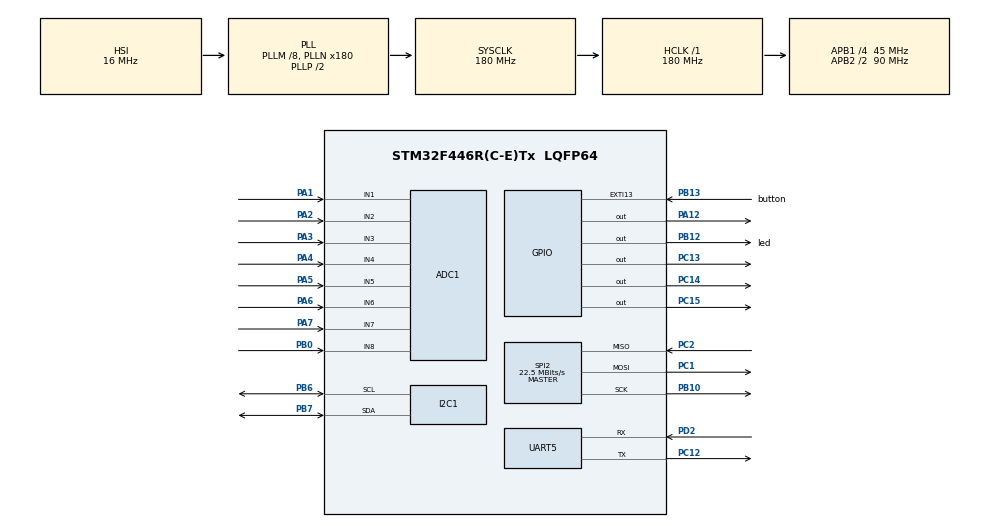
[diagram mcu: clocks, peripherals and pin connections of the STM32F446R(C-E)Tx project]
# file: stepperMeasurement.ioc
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ADC1.Channel-19\#ChannelRegularConversion=ADC_CHANNEL_7
ADC1.Channel-20\#ChannelRegularConversion=ADC_CHANNEL_8
ADC1.Channel-21\#ChannelRegularConversion=ADC_CHANNEL_1
ADC1.Channel-22\#ChannelRegularConversion=ADC_CHANNEL_2
ADC1.NbrOfConversion=4
ADC1.NbrOfConversionFlag=1
ADC1.Rank-19\#ChannelRegularConversion=1
ADC1.Rank-20\#ChannelRegularConversion=2
ADC1.Rank-21\#ChannelRegularConversion=3
ADC1.Rank-22\#ChannelRegularConversion=4
ADC1.SamplingTime-19\#ChannelRegularConversion=ADC_SAMPLETIME_3CYCLES
ADC1.SamplingTime-20\#ChannelRegularConversion=ADC_SAMPLETIME_3CYCLES
ADC1.SamplingTime-21\#ChannelRegularConversion=ADC_SAMPLETIME_3CYCLES
ADC1.SamplingTime-22\#ChannelRegularConversion=ADC_SAMPLETIME_3CYCLES
ADC1.master=1
Dma.ADC1.0.Direction=DMA_PERIPH_TO_MEMORY
Dma.ADC1.0.FIFOMode=DMA_FIFOMODE_DISABLE
Dma.ADC1.0.Instance=DMA2_Stream0
Dma.ADC1.0.MemDataAlignment=DMA_MDATAALIGN_HALFWORD
Dma.ADC1.0.MemInc=DMA_MINC_ENABLE
Dma.ADC1.0.Mode=DMA_NORMAL
Dma.ADC1.0.PeriphDataAlignment=DMA_PDATAALIGN_HALFWORD
Dma.ADC1.0.PeriphInc=DMA_PINC_DISABLE
Dma.ADC1.0.Priority=DMA_PRIORITY_LOW
Dma.Request0=ADC1
Mcu.Family=STM32F4
Mcu.Name=STM32F446R(C-E)Tx
Mcu.Package=LQFP64
NVIC.DMA2_Stream0_IRQn=true\:0\:0\:false\:false\:true\:false\:true\:true
NVIC.EXTI15_10_IRQn=true\:0\:0\:false\:false\:true\:true\:true\:true
NVIC.PriorityGroup=NVIC_PRIORITYGROUP_4
NVIC.TIM2_IRQn=true\:0\:0\:false\:false\:true\:true\:true\:true
NVIC.UART5_IRQn=true\:0\:0\:false\:false\:true\:true\:true\:true
PA1.Signal=ADCx_IN1
PA12.GPIO_PuPd=GPIO_PULLUP
PA12.Signal=GPIO_Output
PA13.Mode=Serial_Wire
PA13.Signal=SYS_JTMS-SWDIO
PA14.Mode=Serial_Wire
PA14.Signal=SYS_JTCK-SWCLK
PA2.Signal=ADCx_IN2
PA3.Signal=ADCx_IN3
PA4.Signal=ADCx_IN4
PA5.Signal=ADCx_IN5
PA6.Signal=ADCx_IN6
PA7.Signal=ADCx_IN7
PB0.Signal=ADCx_IN8
PB10.Mode=Full_Duplex_Master
PB10.Signal=SPI2_SCK
PB12.GPIO_Label=led
PB12.PinState=GPIO_PIN_SET
PB12.Signal=GPIO_Output
PB13.GPIO_Label=button
PB13.GPIO_ModeDefaultEXTI=GPIO_MODE_IT_RISING_FALLING
PB13.Signal=GPXTI13
PB6.Mode=I2C
PB6.Signal=I2C1_SCL
PB7.Mode=I2C
PB7.Signal=I2C1_SDA
PC1.Mode=Full_Duplex_Master
PC1.Signal=SPI2_MOSI
PC12.Mode=Asynchronous
PC12.Signal=UART5_TX
PC13.Signal=GPIO_Output
PC14-OSC32_IN.Signal=GPIO_Output
PC15-OSC32_OUT.Signal=GPIO_Output
PC2.Mode=Full_Duplex_Master
PC2.Signal=SPI2_MISO
PD2.Mode=Asynchronous
PD2.Signal=UART5_RX
PH0-OSC_IN.Mode=HSE-External-Oscillator
PH0-OSC_IN.Signal=RCC_OSC_IN
PH1-OSC_OUT.Mode=HSE-External-Oscillator
PH1-OSC_OUT.Signal=RCC_OSC_OUT
ProjectManager.HeapSize=0x200
ProjectManager.StackSize=0x400
ProjectManager.TargetToolchain=STM32CubeIDE
RCC.AHBFreq_Value=180000000
RCC.APB1CLKDivider=RCC_HCLK_DIV4
RCC.APB1Freq_Value=45000000
RCC.APB1TimFreq_Value=90000000
RCC.APB2CLKDivider=RCC_HCLK_DIV2
RCC.APB2Freq_Value=90000000
RCC.APB2TimFreq_Value=180000000
RCC.CortexFreq_Value=180000000
RCC.HCLKFreq_Value=180000000
RCC.PLLM=8
RCC.PLLN=180
RCC.SYSCLKFreq_VALUE=180000000
RCC.SYSCLKSource=RCC_SYSCLKSOURCE_PLLCLK
RCC.USBFreq_Value=180000000
RCC.VCOOutputFreq_Value=360000000
SH.ADCx_IN1.0=ADC1_IN1,IN1
SH.ADCx_IN2.0=ADC1_IN2,IN2
SH.ADCx_IN3.0=ADC1_IN3,IN3
SH.ADCx_IN4.0=ADC1_IN4,IN4
SH.ADCx_IN5.0=ADC1_IN5,IN5
SH.ADCx_IN6.0=ADC1_IN6,IN6
SH.ADCx_IN7.0=ADC1_IN7,IN7
SH.ADCx_IN8.0=ADC1_IN8,IN8
SPI2.CalculateBaudRate=22.5 MBits/s
SPI2.Direction=SPI_DIRECTION_2LINES
SPI2.Mode=SPI_MODE_MASTER
SPI2.VirtualType=VM_MASTER
TIM2.Period=55-1
TIM2.Prescaler=45-1
UART5.VirtualMode=Asynchronous
VP_CRC_VS_CRC.Mode=CRC_Activate
VP_IWDG_VS_IWDG.Mode=IWDG_Activate
VP_TIM2_VS_ClockSourceINT.Mode=Internal
board=custom

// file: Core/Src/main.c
/* USER CODE BEGIN Header */
/**
 ******************************************************************************
 * @file           : main.c
 * @brief          : Main program body
 ******************************************************************************
 * @attention
 *
 * Copyright (c) 2025 STMicroelectronics.
 * All rights reserved.
 *
 * This software is licensed under terms that can be found in the LICENSE file
 * in the root directory of this software component.
 * If no LICENSE file comes with this software, it is provided AS-IS.
 *
 ******************************************************************************
 */
/* USER CODE END Header */
#include "main.h"

/* USER CODE BEGIN Includes */
#include "common.h"
#include "modbus_slave.h"
#include "configuration.h"
#include "mb_upgrade.h"
#include "system_msp.h"
#include "control.h"
#include "flash_app.h"
#include "voltage_current_probe.h"
#include "switch.h"

/* USER CODE END Includes */

/* USER CODE BEGIN PD */
#define PERIOD_HANDLE_MED_PRIO      5
#define PERIOD_HANDLE_LOW_PRIO      50

/* USER CODE END PD */

ADC_HandleTypeDef hadc1;
DMA_HandleTypeDef hdma_adc1;

CRC_HandleTypeDef hcrc;

I2C_HandleTypeDef hi2c1;

IWDG_HandleTypeDef hiwdg;

SPI_HandleTypeDef hspi2;

TIM_HandleTypeDef htim2;

UART_HandleTypeDef huart5;

/* USER CODE BEGIN PV */
uint32_t max_low = 0;
uint32_t max_med = 0;

/* USER CODE END PV */

void SystemClock_Config(void);
static void MX_GPIO_Init(void);
static void MX_DMA_Init(void);
static void MX_I2C1_Init(void);
static void MX_SPI2_Init(void);
static void MX_UART5_Init(void);
static void MX_CRC_Init(void);
static void MX_TIM2_Init(void);
static void MX_IWDG_Init(void);
static void MX_ADC1_Init(void);

/* USER CODE BEGIN 0 */
char uart_buf[50];
uint32_t adc_valuess;

/* USER CODE END 0 */

int main(void)
{

    /* USER CODE BEGIN 1 */
    Status_t ret = STATUS_OK;
    uint32_t tick_med = 0;
    uint32_t tick_slow = 0;
    uint32_t start = 0;

    /* Remap reset vector and enable interrupts */
    System_RemapApplicationVector();
    __enable_irq();

    /* USER CODE END 1 */

    /* MCU Configuration--------------------------------------------------------*/

    /* Reset of all peripherals, Initializes the Flash interface and the Systick. */
    HAL_Init();

    /* USER CODE BEGIN Init */
    HAL_RCC_DeInit();
    /* USER CODE END Init */

    /* Configure the system clock */
    SystemClock_Config();

    /* USER CODE BEGIN SysInit */
    //MX_USART1_UART_Init();
    /* USER CODE END SysInit */

    /* Initialize all configured peripherals */
    MX_GPIO_Init();
    MX_DMA_Init();
    MX_I2C1_Init();
    MX_SPI2_Init();
    MX_UART5_Init();
    MX_CRC_Init();
    MX_TIM2_Init();
    MX_IWDG_Init();
    MX_ADC1_Init();
    /* USER CODE BEGIN 2 */
    Switch_Init();
    /* Initialize system modules */
    ret |= System_InitWdg();
    ret |= System_ReloadWdg();
    System_CrcInit();
    ret |= Config_Init();
    ret |= Control_Init();

    /* Initialize flash memory module */
    ret |= FlashApp_Init();

    /* Initialize communication modules */
    ret |= MbSlave_Init();

    /* Initialize test modules */
    /* TODO */
    Probe_Init();
    Probe_InitOffset();
    /* Reload watchdog and check for errors in the initialization process */
    ret |= System_ReloadWdg();

    // CHECK_ERROR(ret, ERROR_CODE_init);
    tick_med = HAL_GetTick();
    tick_slow = HAL_GetTick();

    /* Initialize Modbus upgrade module */
    /* USER CODE END 2 */

    /* Infinite loop */
    /* USER CODE BEGIN WHILE */
    while (1)
    {
        /* High priority - real-time handles */
        MbSlave_Handle();

        /* Medium priority - fast handles */
        if (TICK_EXPIRED(tick_med))
        {
            tick_med += PERIOD_HANDLE_MED_PRIO;
            start = HAL_GetTick();

            /* Test modules handles */
            /* TODO */

            /* Medium priority time measurement */
            max_med = MAX(max_med, HAL_GetTick() - start);
        }

        /* Low priority - slow handles */
        if (TICK_EXPIRED(tick_slow))
        {

            tick_slow = HAL_GetTick() + PERIOD_HANDLE_LOW_PRIO;
            start = HAL_GetTick();

            /* Communication handles */
            ret |= Control_Handle();
            ret |= MbSlave_UpdateSlaveAddress();

            /* Flash memory handle */
            ret |= FlashApp_Handle();

            /* Test modules handles */
            /* TODO */

            /* Low-priority time measurement */
            max_low = MAX(max_low, HAL_GetTick() - start);

            /* Watchdog reload */
            ret |= System_ReloadWdg();
            HAL_GPIO_TogglePin(led_GPIO_Port, led_Pin);
            conf.sys.io_input = Switch_GetAll();
            MbSlave_UpdateSlaveAddress();

        }

        /* Check for general error in while loop */
//    CHECK_ERROR(ret, ERROR_CODE_while);
        /* USER CODE END WHILE */

    }
}

void SystemClock_Config(void)
{
    RCC_OscInitTypeDef RCC_OscInitStruct =
    { 0 };
    RCC_ClkInitTypeDef RCC_ClkInitStruct =
    { 0 };

    /** Configure the main internal regulator output voltage
     */
    __HAL_RCC_PWR_CLK_ENABLE();
    __HAL_PWR_VOLTAGESCALING_CONFIG(PWR_REGULATOR_VOLTAGE_SCALE1);

    /** Initializes the RCC Oscillators according to the specified parameters
     * in the RCC_OscInitTypeDef structure.
     */
    RCC_OscInitStruct.OscillatorType = RCC_OSCILLATORTYPE_HSI
            | RCC_OSCILLATORTYPE_LSI;
    RCC_OscInitStruct.HSIState = RCC_HSI_ON;
    RCC_OscInitStruct.HSICalibrationValue = RCC_HSICALIBRATION_DEFAULT;
    RCC_OscInitStruct.LSIState = RCC_LSI_ON;
    RCC_OscInitStruct.PLL.PLLState = RCC_PLL_ON;
    RCC_OscInitStruct.PLL.PLLSource = RCC_PLLSOURCE_HSI;
    RCC_OscInitStruct.PLL.PLLM = 8;
    RCC_OscInitStruct.PLL.PLLN = 180;
    RCC_OscInitStruct.PLL.PLLP = RCC_PLLP_DIV2;
    RCC_OscInitStruct.PLL.PLLQ = 2;
    RCC_OscInitStruct.PLL.PLLR = 2;
    if (HAL_RCC_OscConfig(&RCC_OscInitStruct) != HAL_OK)
    {
        Error_Handler();
    }

    /** Activate the Over-Drive mode
     */
    if (HAL_PWREx_EnableOverDrive() != HAL_OK)
    {
        Error_Handler();
    }

    /** Initializes the CPU, AHB and APB buses clocks
     */
    RCC_ClkInitStruct.ClockType = RCC_CLOCKTYPE_HCLK | RCC_CLOCKTYPE_SYSCLK
                                  | RCC_CLOCKTYPE_PCLK1 | RCC_CLOCKTYPE_PCLK2;
    RCC_ClkInitStruct.SYSCLKSource = RCC_SYSCLKSOURCE_PLLCLK;
    RCC_ClkInitStruct.AHBCLKDivider = RCC_SYSCLK_DIV1;
    RCC_ClkInitStruct.APB1CLKDivider = RCC_HCLK_DIV4;
    RCC_ClkInitStruct.APB2CLKDivider = RCC_HCLK_DIV2;

    if (HAL_RCC_ClockConfig(&RCC_ClkInitStruct, FLASH_LATENCY_5) != HAL_OK)
    {
        Error_Handler();
    }
}

static void MX_ADC1_Init(void)
{

    ADC_ChannelConfTypeDef sConfig =
    { 0 };

    /** Configure the global features of the ADC (Clock, Resolution, Data Alignment and number of conversion)
     */
    hadc1.Instance = ADC1;
    hadc1.Init.ClockPrescaler = ADC_CLOCK_SYNC_PCLK_DIV4;
    hadc1.Init.Resolution = ADC_RESOLUTION_12B;
    hadc1.Init.ScanConvMode = ENABLE;
    hadc1.Init.ContinuousConvMode = DISABLE;
    hadc1.Init.DiscontinuousConvMode = DISABLE;
    hadc1.Init.ExternalTrigConvEdge = ADC_EXTERNALTRIGCONVEDGE_NONE;
    hadc1.Init.ExternalTrigConv = ADC_SOFTWARE_START;
    hadc1.Init.DataAlign = ADC_DATAALIGN_RIGHT;
    hadc1.Init.NbrOfConversion = 4;
    hadc1.Init.DMAContinuousRequests = DISABLE;
    hadc1.Init.EOCSelection = ADC_EOC_SINGLE_CONV;
    if (HAL_ADC_Init(&hadc1) != HAL_OK)
    {
        Error_Handler();
    }

    /** Configure for the selected ADC regular channel its corresponding rank in the sequencer and its sample time.
     */
    sConfig.Channel = ADC_CHANNEL_7;
    sConfig.Rank = 1;
    sConfig.SamplingTime = ADC_SAMPLETIME_3CYCLES;
    if (HAL_ADC_ConfigChannel(&hadc1, &sConfig) != HAL_OK)
    {
        Error_Handler();
    }

    /** Configure for the selected ADC regular channel its corresponding rank in the sequencer and its sample time.
     */
    sConfig.Channel = ADC_CHANNEL_8;
    sConfig.Rank = 2;
    if (HAL_ADC_ConfigChannel(&hadc1, &sConfig) != HAL_OK)
    {
        Error_Handler();
    }

    /** Configure for the selected ADC regular channel its corresponding rank in the sequencer and its sample time.
     */
    sConfig.Channel = ADC_CHANNEL_1;
    sConfig.Rank = 3;
    if (HAL_ADC_ConfigChannel(&hadc1, &sConfig) != HAL_OK)
    {
        Error_Handler();
    }

    /** Configure for the selected ADC regular channel its corresponding rank in the sequencer and its sample time.
     */
    sConfig.Channel = ADC_CHANNEL_2;
    sConfig.Rank = 4;
    if (HAL_ADC_ConfigChannel(&hadc1, &sConfig) != HAL_OK)
    {
        Error_Handler();
    }

}

static void MX_CRC_Init(void)
{

    hcrc.Instance = CRC;
    if (HAL_CRC_Init(&hcrc) != HAL_OK)
    {
        Error_Handler();
    }

}

static void MX_I2C1_Init(void)
{

    hi2c1.Instance = I2C1;
    hi2c1.Init.ClockSpeed = 100000;
    hi2c1.Init.DutyCycle = I2C_DUTYCYCLE_2;
    hi2c1.Init.OwnAddress1 = 0;
    hi2c1.Init.AddressingMode = I2C_ADDRESSINGMODE_7BIT;
    hi2c1.Init.DualAddressMode = I2C_DUALADDRESS_DISABLE;
    hi2c1.Init.OwnAddress2 = 0;
    hi2c1.Init.GeneralCallMode = I2C_GENERALCALL_DISABLE;
    hi2c1.Init.NoStretchMode = I2C_NOSTRETCH_DISABLE;
    if (HAL_I2C_Init(&hi2c1) != HAL_OK)
    {
        Error_Handler();
    }

}

static void MX_IWDG_Init(void)
{

    hiwdg.Instance = IWDG;
    hiwdg.Init.Prescaler = IWDG_PRESCALER_4;
    hiwdg.Init.Reload = 4095;
    if (HAL_IWDG_Init(&hiwdg) != HAL_OK)
    {
        Error_Handler();
    }

}

static void MX_SPI2_Init(void)
{

    /* SPI2 parameter configuration*/
    hspi2.Instance = SPI2;
    hspi2.Init.Mode = SPI_MODE_MASTER;
    hspi2.Init.Direction = SPI_DIRECTION_2LINES;
    hspi2.Init.DataSize = SPI_DATASIZE_8BIT;
    hspi2.Init.CLKPolarity = SPI_POLARITY_LOW;
    hspi2.Init.CLKPhase = SPI_PHASE_1EDGE;
    hspi2.Init.NSS = SPI_NSS_SOFT;
    hspi2.Init.BaudRatePrescaler = SPI_BAUDRATEPRESCALER_2;
    hspi2.Init.FirstBit = SPI_FIRSTBIT_MSB;
    hspi2.Init.TIMode = SPI_TIMODE_DISABLE;
    hspi2.Init.CRCCalculation = SPI_CRCCALCULATION_DISABLE;
    hspi2.Init.CRCPolynomial = 10;
    if (HAL_SPI_Init(&hspi2) != HAL_OK)
    {
        Error_Handler();
    }

}

static void MX_TIM2_Init(void)
{

    TIM_ClockConfigTypeDef sClockSourceConfig =
    { 0 };
    TIM_MasterConfigTypeDef sMasterConfig =
    { 0 };

    htim2.Instance = TIM2;
    htim2.Init.Prescaler = 45 - 1;
    htim2.Init.CounterMode = TIM_COUNTERMODE_UP;
    htim2.Init.Period = 55 - 1;
    htim2.Init.ClockDivision = TIM_CLOCKDIVISION_DIV1;
    htim2.Init.AutoReloadPreload = TIM_AUTORELOAD_PRELOAD_DISABLE;
    if (HAL_TIM_Base_Init(&htim2) != HAL_OK)
    {
        Error_Handler();
    }
    sClockSourceConfig.ClockSource = TIM_CLOCKSOURCE_INTERNAL;
    if (HAL_TIM_ConfigClockSource(&htim2, &sClockSourceConfig) != HAL_OK)
    {
        Error_Handler();
    }
    sMasterConfig.MasterOutputTrigger = TIM_TRGO_RESET;
    sMasterConfig.MasterSlaveMode = TIM_MASTERSLAVEMODE_DISABLE;
    if (HAL_TIMEx_MasterConfigSynchronization(&htim2, &sMasterConfig) != HAL_OK)
    {
        Error_Handler();
    }

}

static void MX_UART5_Init(void)
{

    huart5.Instance = UART5;
    huart5.Init.BaudRate = 115200;
    huart5.Init.WordLength = UART_WORDLENGTH_8B;
    huart5.Init.StopBits = UART_STOPBITS_1;
    huart5.Init.Parity = UART_PARITY_NONE;
    huart5.Init.Mode = UART_MODE_TX_RX;
    huart5.Init.HwFlowCtl = UART_HWCONTROL_NONE;
    huart5.Init.OverSampling = UART_OVERSAMPLING_16;
    if (HAL_UART_Init(&huart5) != HAL_OK)
    {
        Error_Handler();
    }

}

static void MX_DMA_Init(void)
{

    /* DMA controller clock enable */
    __HAL_RCC_DMA2_CLK_ENABLE();

    /* DMA interrupt init */
    /* DMA2_Stream0_IRQn interrupt configuration */
    HAL_NVIC_SetPriority(DMA2_Stream0_IRQn, 0, 0);
    HAL_NVIC_EnableIRQ(DMA2_Stream0_IRQn);

}

static void MX_GPIO_Init(void)
{
    GPIO_InitTypeDef GPIO_InitStruct =
    { 0 };

    /* GPIO Ports Clock Enable */
    __HAL_RCC_GPIOC_CLK_ENABLE();
    __HAL_RCC_GPIOH_CLK_ENABLE();
    __HAL_RCC_GPIOA_CLK_ENABLE();
    __HAL_RCC_GPIOB_CLK_ENABLE();
    __HAL_RCC_GPIOD_CLK_ENABLE();

    /*Configure GPIO pin Output Level */
    HAL_GPIO_WritePin(GPIOC, GPIO_PIN_13 | GPIO_PIN_14 | GPIO_PIN_15,
                      GPIO_PIN_RESET);

    /*Configure GPIO pin Output Level */
    HAL_GPIO_WritePin(led_GPIO_Port, led_Pin, GPIO_PIN_SET);

    /*Configure GPIO pin Output Level */
    HAL_GPIO_WritePin(GPIOA, GPIO_PIN_12, GPIO_PIN_RESET);

    /*Configure GPIO pins : PC13 PC14 PC15 */
    GPIO_InitStruct.Pin = GPIO_PIN_13 | GPIO_PIN_14 | GPIO_PIN_15;
    GPIO_InitStruct.Mode = GPIO_MODE_OUTPUT_PP;
    GPIO_InitStruct.Pull = GPIO_NOPULL;
    GPIO_InitStruct.Speed = GPIO_SPEED_FREQ_LOW;
    HAL_GPIO_Init(GPIOC, &GPIO_InitStruct);

    /*Configure GPIO pin : led_Pin */
    GPIO_InitStruct.Pin = led_Pin;
    GPIO_InitStruct.Mode = GPIO_MODE_OUTPUT_PP;
    GPIO_InitStruct.Pull = GPIO_NOPULL;
    GPIO_InitStruct.Speed = GPIO_SPEED_FREQ_LOW;
    HAL_GPIO_Init(led_GPIO_Port, &GPIO_InitStruct);

    /*Configure GPIO pin : button_Pin */
    GPIO_InitStruct.Pin = button_Pin;
    GPIO_InitStruct.Mode = GPIO_MODE_IT_RISING_FALLING;
    GPIO_InitStruct.Pull = GPIO_NOPULL;
    HAL_GPIO_Init(button_GPIO_Port, &GPIO_InitStruct);

    /*Configure GPIO pin : PA12 */
    GPIO_InitStruct.Pin = GPIO_PIN_12;
    GPIO_InitStruct.Mode = GPIO_MODE_OUTPUT_PP;
    GPIO_InitStruct.Pull = GPIO_PULLUP;
    GPIO_InitStruct.Speed = GPIO_SPEED_FREQ_LOW;
    HAL_GPIO_Init(GPIOA, &GPIO_InitStruct);

    /* EXTI interrupt init*/
    HAL_NVIC_SetPriority(EXTI15_10_IRQn, 0, 0);
    HAL_NVIC_EnableIRQ(EXTI15_10_IRQn);

}

/* USER CODE BEGIN 4 */
/**
 * @brief  Callback funkce po dokončení ADC konverze (DMA).
 */
void HAL_TIM_PeriodElapsedCallback(TIM_HandleTypeDef *htim)
{
    if (htim->Instance == TIM2)
    {

        StartAdcMeasurement();

    }
}
void HAL_UART_TxCpltCallback(UART_HandleTypeDef *huart)
{
    MbSlave_TxCpltCallback(huart);
}
void HAL_UART_RxCpltCallback(UART_HandleTypeDef *huart)
{
    MbSlave_RxCpltCallback(huart);
}

void HAL_UART_ErrorCallback(UART_HandleTypeDef *huart)
{
    MbSlave_ErrorCallback(huart);
}

/* USER CODE END 4 */

void Error_Handler(void)
{
    __disable_irq();
    while (1)
    {
    }
}
